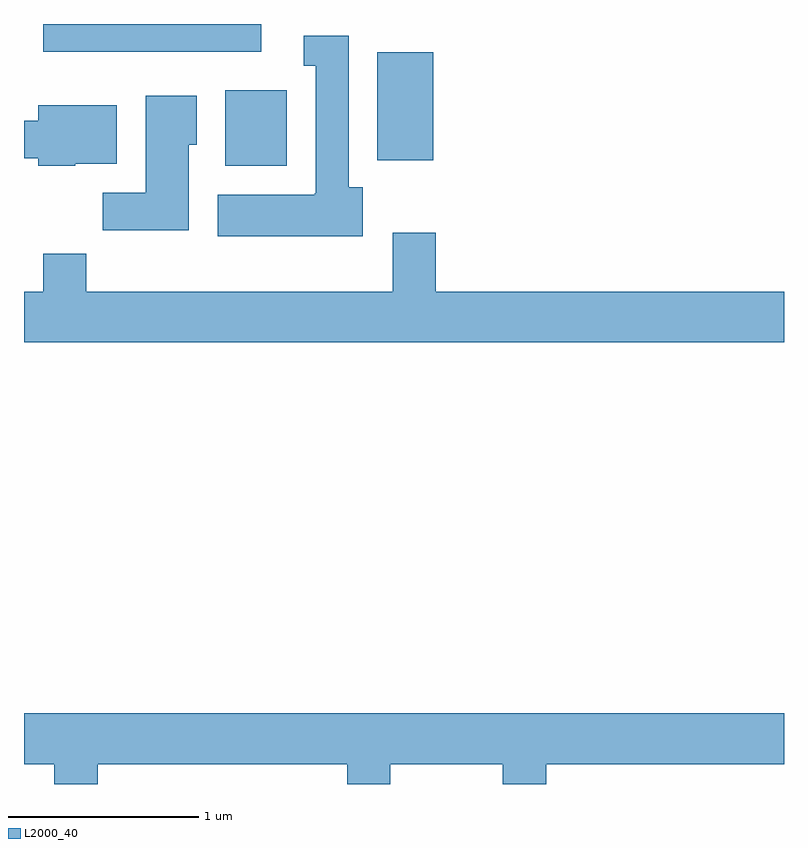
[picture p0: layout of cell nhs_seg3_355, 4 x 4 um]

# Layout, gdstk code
import gdstk
lib = gdstk.Library(unit=1e-6, precision=1e-09)
def R(c, l, rs):  # rectangles x0, y0, x1, y1
    for r in rs: c.add(gdstk.rectangle(r[:2], r[2:], *l))
def P(c, l, *ps):  # polygons
    for p in ps: c.add(gdstk.Polygon(p, *l))
L2000_40 = (2000, 40)

nhs_seg3_355 = lib.new_cell('nhs_seg3_355')
R(nhs_seg3_355, L2000_40, [(196.671,1149.146,196.994,1149.544), (197.471,1149.176,197.764,1149.744), (195.711,1149.746,196.859,1149.892)])
P(nhs_seg3_355, L2000_40, [(197.394,1149.034),(197.319,1149.034),(197.319,1149.829),(197.083,1149.829),(197.083,1149.671),(197.146,1149.671),(197.146,1149),(197.14,1149),(197.14,1148.994),(196.631,1148.994),(196.631,1148.776),(197.394,1148.776)],
  [(196.479,1149.256),(196.519,1149.256),(196.519,1149.514),(196.251,1149.514),(196.251,1149.004),(196.026,1149.004),(196.026,1148.806),(196.479,1148.806)],
  [(195.88,1149.156),(196.099,1149.156),(196.099,1149.464),(195.686,1149.464),(195.686,1149.384),(195.611,1149.384),(195.611,1149.186),(195.686,1149.186),(195.686,1149.146),(195.88,1149.146)],
  [(199.611,1148.484),(197.779,1148.484),(197.779,1148.794),(197.551,1148.794),(197.551,1148.484),(195.939,1148.484),(195.939,1148.684),(195.711,1148.684),(195.711,1148.484),(195.611,1148.484),(195.611,1148.216),(199.611,1148.216)],
  [(195.999,1145.996),(197.311,1145.996),(197.311,1145.892),(197.539,1145.892),(197.539,1145.996),(198.131,1145.996),(198.131,1145.892),(198.359,1145.892),(198.359,1145.996),(199.611,1145.996),(199.611,1146.264),(195.611,1146.264),(195.611,1145.996),(195.771,1145.996),(195.771,1145.892),(195.999,1145.892)])

lib.write_gds('nhs_seg3_355.gds')
